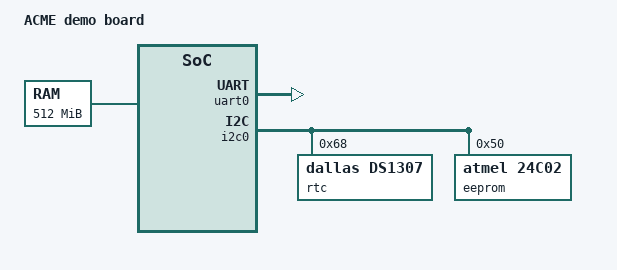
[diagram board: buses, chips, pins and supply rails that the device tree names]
/dts-v1/;

/*
 * A small, self-contained tree that dtc(1) can actually compile, so the
 * same logical tree can be checked through all three back-ends
 * (dts source, compiled dtb, device-tree filesystem).
 */

/ {
	compatible = "acme,demoboard";
	model = "ACME demo board";
	#address-cells = <1>;
	#size-cells = <1>;

	chosen {
		bootargs = "console=ttyS0,115200 root=/dev/mmcblk0p2";
		stdout-path = &uart0;
	};

	aliases {
		serial0 = &uart0;
	};

	cpus {
		#address-cells = <1>;
		#size-cells = <0>;

		cpu0: cpu@0 {
			device_type = "cpu";
			compatible = "arm,cortex-a53";
			reg = <0>;
			next-level-cache = <&l2>;
		};

		cpu1: cpu@1 {
			device_type = "cpu";
			compatible = "arm,cortex-a53";
			reg = <1>;
			next-level-cache = <&l2>;
		};

		l2: l2-cache {
			compatible = "cache";
			cache-level = <2>;
			cache-unified;
		};
	};

	memory@40000000 {
		device_type = "memory";
		reg = <0x40000000 0x20000000>;
	};

	soc {
		compatible = "simple-bus";
		#address-cells = <1>;
		#size-cells = <1>;
		ranges;

		uart0: serial@9000000 {
			compatible = "arm,pl011", "arm,primecell";
			reg = <0x9000000 0x1000>;
			status = "okay";
			local-mac-address = [de ad be ef 00 01];
		};

		i2c0: i2c@9010000 {
			compatible = "snps,designware-i2c";
			reg = <0x9010000 0x1000>;
			#address-cells = <1>;
			#size-cells = <0>;
			status = "disabled";

			rtc@68 {
				compatible = "dallas,ds1307";
				reg = <0x68>;
			};
		};
	};
};

&i2c0 {
	status = "okay";

	eeprom@50 {
		compatible = "atmel,24c02";
		reg = <0x50>;
	};
};
